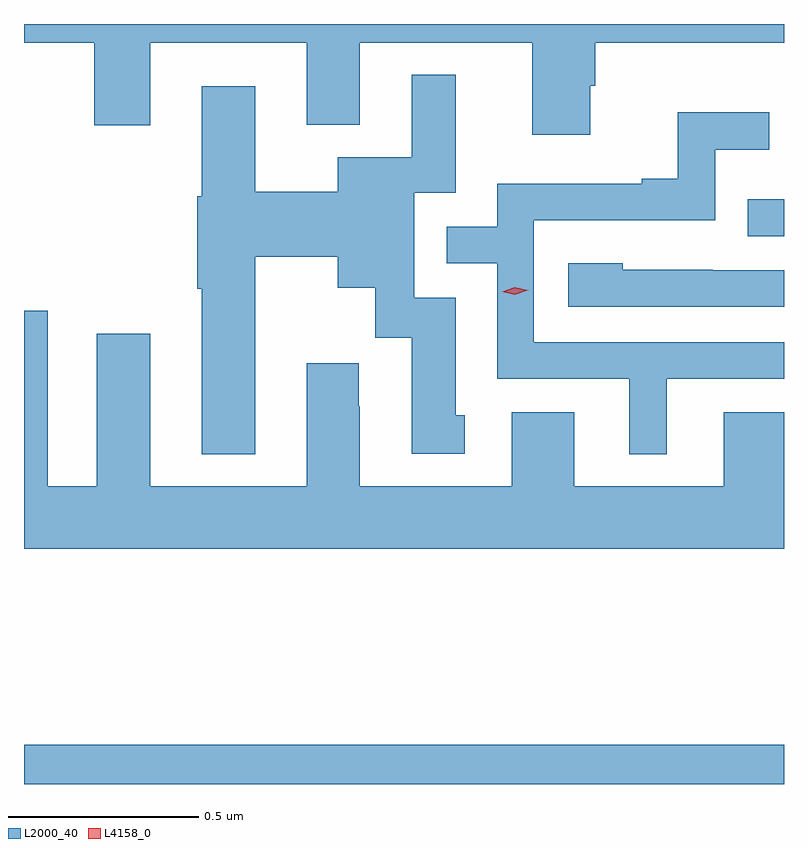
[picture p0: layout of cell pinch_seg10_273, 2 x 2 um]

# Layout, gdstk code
import gdstk
lib = gdstk.Library(unit=1e-6, precision=1e-09)
def R(c, l, rs):  # rectangles x0, y0, x1, y1
    for r in rs: c.add(gdstk.rectangle(r[:2], r[2:], *l))
def P(c, l, *ps):  # polygons
    for p in ps: c.add(gdstk.Polygon(p, *l))
L2000_40 = (2000, 40)
L4158_0 = (4158, 0)

pinch_seg10_273 = lib.new_cell('pinch_seg10_273')
R(pinch_seg10_273, L2000_40, [(549.467,1307.689,551.467,1307.792), (551.371,1309.131,551.467,1309.228)])
P(pinch_seg10_273, L2000_40, [(550.957,1309.527),(550.97,1309.527),(550.97,1309.64),(551.467,1309.64),(551.467,1309.689),(549.467,1309.689),(549.467,1309.64),(549.652,1309.64),(549.652,1309.422),(549.799,1309.422),(549.799,1309.64),(550.211,1309.64),(550.211,1309.424),(550.351,1309.424),(550.351,1309.64),(550.805,1309.64),(550.805,1309.398),(550.957,1309.398)],
  [(550.075,1309.076),(550.292,1309.076),(550.292,1308.995),(550.391,1308.995),(550.391,1308.864),(550.487,1308.864),(550.487,1308.558),(550.627,1308.558),(550.627,1308.66),(550.603,1308.66),(550.603,1308.969),(550.494,1308.969),(550.494,1309.245),(550.603,1309.245),(550.603,1309.555),(550.487,1309.555),(550.487,1309.339),(550.292,1309.339),(550.292,1309.248),(550.075,1309.248),(550.075,1309.525),(549.935,1309.525),(549.935,1309.236),(549.923,1309.236),(549.923,1308.992),(549.935,1308.992),(549.935,1308.557),(550.075,1308.557)],
  [(551.158,1308.756),(551.467,1308.756),(551.467,1308.852),(550.809,1308.852),(550.809,1309.173),(551.286,1309.173),(551.286,1309.358),(551.428,1309.358),(551.428,1309.457),(551.188,1309.457),(551.188,1309.282),(551.093,1309.282),(551.093,1309.269),(550.713,1309.269),(550.713,1309.155),(550.58,1309.155),(550.58,1309.059),(550.713,1309.059),(550.713,1308.756),(551.06,1308.756),(551.06,1308.557),(551.158,1308.557)],
  [(551.467,1309.041),(551.279,1309.041),(551.279,1309.042),(551.043,1309.042),(551.043,1309.06),(550.899,1309.06),(550.899,1308.945),(551.467,1308.945)],
  [(551.467,1308.667),(551.309,1308.667),(551.309,1308.472),(550.915,1308.472),(550.915,1308.667),(550.751,1308.667),(550.751,1308.472),(550.351,1308.472),(550.351,1308.683),(550.348,1308.683),(550.348,1308.796),(550.211,1308.796),(550.211,1308.472),(549.799,1308.472),(549.799,1308.874),(549.659,1308.874),(549.659,1308.472),(549.529,1308.472),(549.529,1308.934),(549.467,1308.934),(549.467,1308.308),(551.467,1308.308)])
P(pinch_seg10_273, L4158_0, [(550.759,1308.977),(550.725,1308.985),(550.724,1308.985),(550.725,1308.985),(550.758,1308.996),(550.793,1308.988),(550.794,1308.988),(550.793,1308.988)])

lib.write_gds('pinch_seg10_273.gds')
